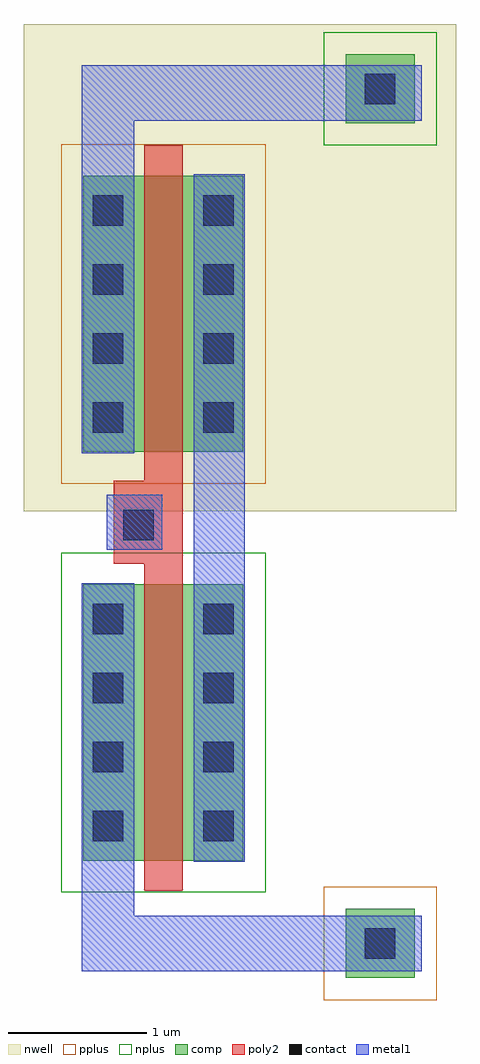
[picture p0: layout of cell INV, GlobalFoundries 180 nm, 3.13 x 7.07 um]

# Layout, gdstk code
import gdstk
lib = gdstk.Library(unit=1e-6, precision=1e-09)
def R(c, l, rs):  # rectangles x0, y0, x1, y1
    for r in rs: c.add(gdstk.rectangle(r[:2], r[2:], *l))
def A(c, l, x, y, w, h, nx, ny, dx, dy):  # array of equal rectangles
    R(c, l, [(x+i*dx, y+j*dy, x+i*dx+w, y+j*dy+h) for i in range(nx) for j in range(ny)])
nwell = (21, 0)
comp = (22, 0)
poly2 = (30, 0)
pplus = (31, 0)
nplus = (32, 0)
contact = (33, 0)
metal1 = (34, 0)

inv = lib.new_cell('INV')
R(inv, nwell, [(-0.43,2.53,2.7,6.06), (-0.43,2.53,1.59,5.39)])
R(inv, comp, [(1.9,-0.85,2.4,-0.35), (0,0,1.16,2), (0,2.96,1.16,4.96), (1.9,5.34,2.4,5.84)])
R(inv, poly2, [(0.44,-0.22,0.72,5.18), (0.44,-0.22,0.72,2.22), (0.22,2.15,0.72,2.75), (0.44,2.74,0.72,5.18)])
R(inv, pplus, [(1.74,-1.01,2.56,-0.19), (-0.16,2.73,1.32,5.19)])
R(inv, nplus, [(-0.16,-0.23,1.32,2.23), (1.74,5.18,2.56,6)])
A(inv, contact, 0.07, 0.14, 0.22, 0.22, 1, 4, 0, 0.5)
A(inv, contact, 0.87, 0.14, 0.22, 0.22, 1, 4, 0, 0.5)
A(inv, contact, 0.07, 3.1, 0.22, 0.22, 1, 4, 0, 0.5)
A(inv, contact, 0.87, 3.1, 0.22, 0.22, 1, 4, 0, 0.5)
R(inv, contact, [(2.04,-0.71,2.26,-0.49), (0.29,2.32,0.51,2.54), (2.04,5.48,2.26,5.7)])
R(inv, metal1, [(-0.01,-0.8,2.45,-0.4), (-0.01,-0.8,0.37,0), (-0.01,-0.01,0.37,2.01), (0.8,-0.01,1.17,2.01), (0.8,1.99,1.17,2.97), (0.17,2.25,0.57,2.65), (-0.01,2.95,0.37,4.97), (0.8,2.95,1.17,4.97), (-0.01,4.96,0.37,5.76), (-0.01,5.36,2.45,5.76)])

lib.write_gds('INV.gds')
